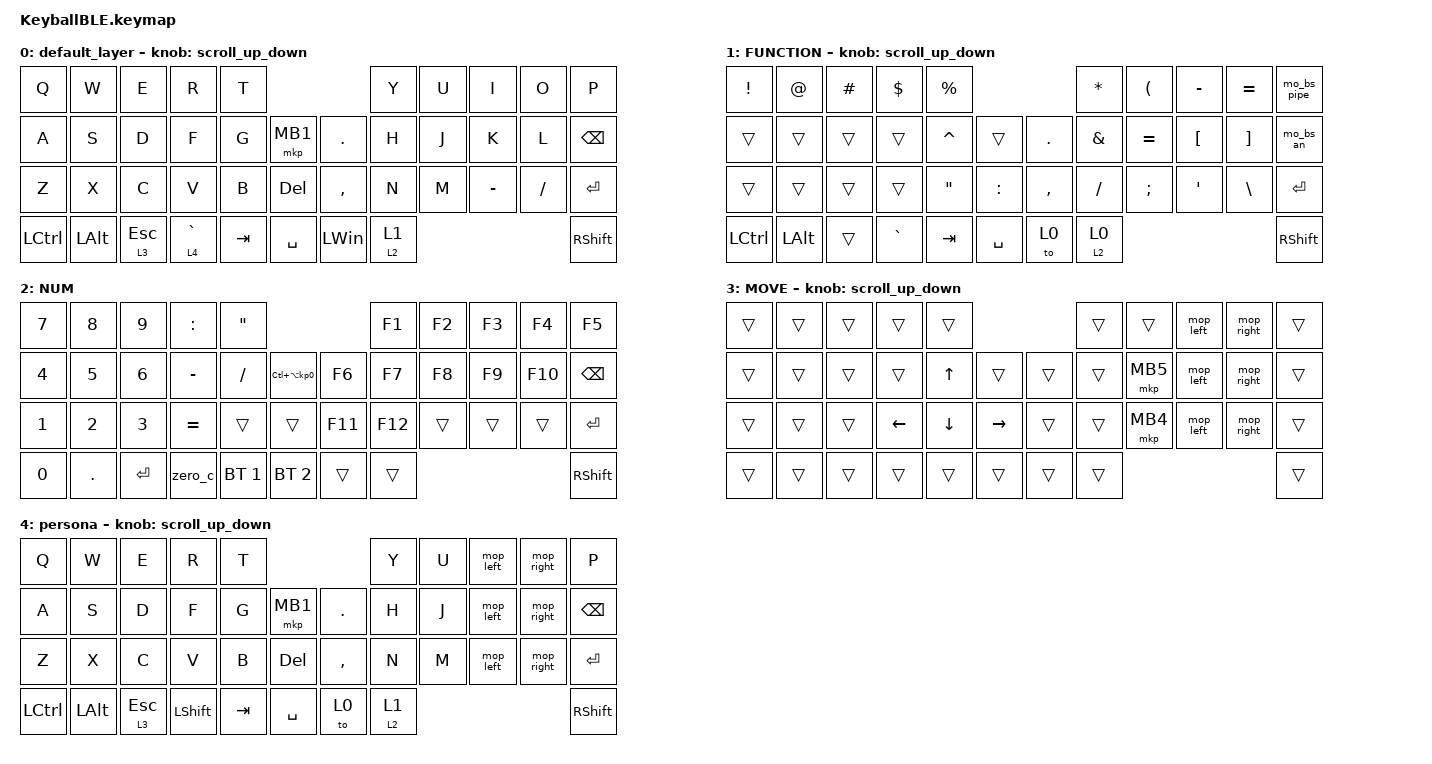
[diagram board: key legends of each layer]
#include <behaviors.dtsi>
#include <dt-bindings/zmk/bt.h>
#include <dt-bindings/zmk/keys.h>
#include <dt-bindings/zmk/pointing.h>

#define MOUSE 4
#define SCROLL 5
#define NUM 6

// OS設定を日本語キーボードのまま使用するための変換定義

#define JP_YEN          0x89              // ¥
#define JP_PIPE         LS(0x89)          // |
#define JP_UNDERSCORE   LS(0x87)          // _
#define JP_HANZEN       GRAVE             // 半角/全角

// マウススクロール用

#define ZMK_MOUSE_DEFAULT_SCRL_VAL 100
#define ZMK_MOUSE_POINTING_SCRL_VAL 100
#define ZMK_POINTING_DEFAULT_SCRL_VAL 120

&mt {
    flavor = "balanced";
    quick-tap-ms = <0>;
};

/ {
    combos {
        compatible = "zmk,combos";

        double_quotation {
            bindings = <&kp DOUBLE_QUOTES>;
            key-positions = <20 21>;
        };
    };

    macros {
        to_layer_3: to_layer_3 {
            compatible = "zmk,behavior-macro";
            #binding-cells = <0>;
            bindings = <&to 3>, <&macro_press>, <&to 0>, <&macro_release>;

            label = "TO_LAYER_3";
        };

        tap_esc: tap_esc {
            compatible = "zmk,behavior-macro";
            #binding-cells = <0>;
            bindings = <&kp ESC>, <&macro_tap>;

            label = "TAP_ESC";
        };
    };

    behaviors {
        // Escとレイヤー切り替えのHold-Tap動作

        esc_mo_layer: esc_mo_layer {
            compatible = "zmk,behavior-hold-tap";
            label = "ESC_MO_LAYER";
            #binding-cells = <2>;
            tapping-term-ms = <200>;
            flavor = "tap-preferred";
            bindings = <&mo>, <&kp>;
        };

        lay1_lay2_layer: lay1_lay2_layer {
            compatible = "zmk,behavior-hold-tap";
            label = "LAY1_LAY2_LAYER";
            #binding-cells = <2>;
            tapping-term-ms = <200>;
            flavor = "tap-preferred";
            bindings = <&mo>, <&to>;
        };

        mo_bs_an: mo_bs_an {
            compatible = "zmk,behavior-mod-morph";
            label = "MO_BS_AN";
            bindings = <&kp JP_YEN>, <&kp JP_UNDERSCORE>;

            #binding-cells = <0>;
            mods = <(MOD_LSFT|MOD_RSFT)>;
        };

        mo_bs_pipe: mo_bs_pipe {
            compatible = "zmk,behavior-mod-morph";
            label = "MO_BS_PIPE";
            bindings = <&kp JP_YEN>, <&kp JP_PIPE>;

            #binding-cells = <0>;
            mods = <(MOD_LSFT|MOD_RSFT)>;
        };

        mop_left: mop_left {
            compatible = "zmk,behavior-mod-morph";
            label = "MOP_LEFT";
            bindings = <&mkp MB1>, <&mkp MB4>;

            #binding-cells = <0>;
            mods = <(MOD_LCTL|MOD_RCTL)>;
        };

        mop_right: mop_right {
            compatible = "zmk,behavior-mod-morph";
            label = "MOP_RIGHT";
            bindings = <&mkp MB2>, <&mkp MB5>;

            #binding-cells = <0>;
            mods = <(MOD_LCTL|MOD_RCTL)>;
        };

        zero_c: zero_c {
            compatible = "zmk,behavior-mod-morph";
            label = "ZERO_C";
            bindings = <&bt BT_SEL 0>, <&bt BT_CLR_ALL>;

            #binding-cells = <0>;
            mods = <(MOD_LSFT|MOD_RSFT)>;
        };

        scroll_up_down: behavior_sensor_rotate_mouse_wheel_up_down {
            compatible = "zmk,behavior-sensor-rotate";
            #sensor-binding-cells = <0>;
            bindings = <&msc SCRL_DOWN>, <&msc SCRL_UP>;

            tap-ms = <20>;
        };

        lay0_lay2_layer: lay0_lay2_layer {
            compatible = "zmk,behavior-hold-tap";
            label = "LAY0_LAY2_LAYER";
            bindings = <&mo>, <&to>;

            #binding-cells = <2>;
            tapping-term-ms = <200>;
            flavor = "tap-preferred";
        };

        han_lay4: han_lay4 {
            compatible = "zmk,behavior-hold-tap";
            label = "HAN_LAY4";
            bindings = <&to>, <&kp>;

            #binding-cells = <2>;
            tapping-term-ms = <1500>;
        };
    };

    keymap {
        compatible = "zmk,keymap";

        default_layer {
            bindings = <
&kp Q      &kp W         &kp E                &kp R              &kp T                                  &kp Y                 &kp U  &kp I      &kp O      &kp P
&kp A      &kp S         &kp D                &kp F              &kp G    &mkp MB1        &kp PERIOD    &kp H                 &kp J  &kp K      &kp L      &kp BACKSPACE
&kp Z      &kp X         &kp C                &kp V              &kp B    &kp DELETE      &kp COMMA     &kp N                 &kp M  &kp MINUS  &kp SLASH  &kp ENTER
&kp LCTRL  &kp LEFT_ALT  &esc_mo_layer 3 ESC  &han_lay4 4 GRAVE  &kp TAB  &kp SPACE       &kp LEFT_WIN  &lay1_lay2_layer 2 1                               &kp RIGHT_SHIFT
            >;

            sensor-bindings = <&scroll_up_down>;
        };

        FUNCTION {
            bindings = <
&kp EXCLAMATION  &kp AT_SIGN   &kp HASH  &kp DOLLAR  &kp PERCENT                                   &kp ASTRK             &kp LEFT_PARENTHESIS  &kp MINUS         &kp EQUAL          &mo_bs_pipe
&trans           &trans        &trans    &trans      &kp CARET          &trans         &kp PERIOD  &kp AMPERSAND         &kp EQUAL             &kp LEFT_BRACKET  &kp RIGHT_BRACKET  &mo_bs_an
&trans           &trans        &trans    &trans      &kp DOUBLE_QUOTES  &kp COLON      &kp COMMA   &kp SLASH             &kp SEMICOLON         &kp SINGLE_QUOTE  &kp BACKSLASH      &kp ENTER
&kp LCTRL        &kp LEFT_ALT  &trans    &kp GRAVE   &kp TAB            &kp SPACE      &to 0       &lay0_lay2_layer 2 0                                                             &kp RIGHT_SHIFT
            >;

            sensor-bindings = <&scroll_up_down>;
        };

        NUM {
            bindings = <
&kp NUMBER_7  &kp NUMBER_8  &kp NUMBER_9  &kp COLON  &kp DOUBLE_QUOTES                                        &kp F1   &kp F2  &kp F3  &kp F4   &kp F5
&kp NUMBER_4  &kp NUMBER_5  &kp NUMBER_6  &kp MINUS  &kp SLASH          &kp LC(LA(KP_NUMBER_0))      &kp F6   &kp F7   &kp F8  &kp F9  &kp F10  &kp BACKSPACE
&kp NUMBER_1  &kp NUMBER_2  &kp NUMBER_3  &kp EQUAL  &trans             &trans                       &kp F11  &kp F12  &trans  &trans  &trans   &kp ENTER
&kp NUMBER_0  &kp PERIOD    &kp ENTER     &zero_c    &bt BT_SEL 1       &bt BT_SEL 2                 &trans   &trans                            &kp RIGHT_SHIFT
            >;
        };

        MOVE {
            bindings = <
&trans  &trans  &trans  &trans          &trans                                       &trans  &trans    &mop_left  &mop_right  &trans
&trans  &trans  &trans  &trans          &kp UP_ARROW    &trans               &trans  &trans  &mkp MB5  &mop_left  &mop_right  &trans
&trans  &trans  &trans  &kp LEFT_ARROW  &kp DOWN_ARROW  &kp RIGHT_ARROW      &trans  &trans  &mkp MB4  &mop_left  &mop_right  &trans
&trans  &trans  &trans  &trans          &trans          &trans               &trans  &trans                                   &trans
            >;

            sensor-bindings = <&scroll_up_down>;
        };

        persona {
            bindings = <
&kp Q      &kp W         &kp E                &kp R           &kp T                                &kp Y                 &kp U  &mop_left  &mop_right  &kp P
&kp A      &kp S         &kp D                &kp F           &kp G    &mkp MB1        &kp PERIOD  &kp H                 &kp J  &mop_left  &mop_right  &kp BACKSPACE
&kp Z      &kp X         &kp C                &kp V           &kp B    &kp DELETE      &kp COMMA   &kp N                 &kp M  &mop_left  &mop_right  &kp ENTER
&kp LCTRL  &kp LEFT_ALT  &esc_mo_layer 3 ESC  &kp LEFT_SHIFT  &kp TAB  &kp SPACE       &to 0       &lay1_lay2_layer 2 1                                &kp RIGHT_SHIFT
            >;

            sensor-bindings = <&scroll_up_down>;
        };
    };
};
